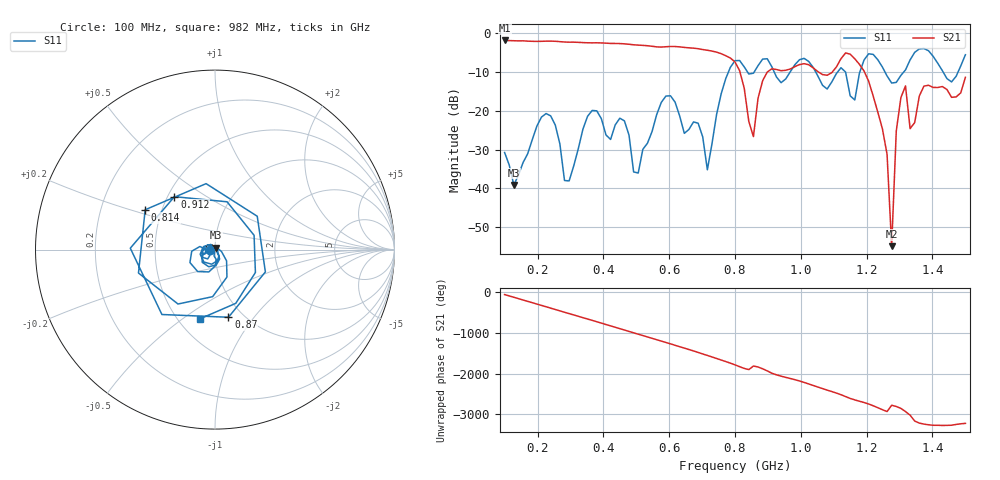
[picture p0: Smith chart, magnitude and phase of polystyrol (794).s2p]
! NanoVNA-App
! Date: 2025-09-25 15:36:04
! Start: 100MHz Stop: 1,5GHz Points: 101
! S-Parameter data: F S11 S21 S12 S22
# Hz S RI R 50
!  Frequency  S11_Real  S11_Imag  S21_Real  S21_Imag  S12_Real  S12_Imag  S22_Real  S22_Imag
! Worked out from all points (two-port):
!   101 points, 100 MHz to 1.5 GHz, reference 50 ohm
!   highest |S21| = -1.80 dB at 100 MHz (marker M1); lowest = -54.9 dB at 1.276 GHz (marker M2)
!   |S21| within 3 dB of the highest: start of sweep to 743.2 MHz
!   lowest |S11| = -39.1 dB at 128 MHz (marker M3), VSWR 1.02, Z = 50.3 + j1.06 ohm
!   |S11| at or under -10 dB: start of sweep to 779.8 MHz; 1.046 GHz to 1.111 GHz (65.66 MHz wide, 6.09 % of centre); 1.256 GHz to 1.312 GHz (56.01 MHz wide, 4.36 % of centre) (the widest 3 of 7)
!   S12 and S22 are empty: the file has one direction only
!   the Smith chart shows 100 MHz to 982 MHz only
!   S11 on the Smith chart (normalised r, x): 100 MHz: 0.94, -0.01; 814 MHz: 0.40, +0.22; 870 MHz: 0.85, -0.76; 912 MHz: 0.54, +0.37; 982 MHz: 0.64, -0.58
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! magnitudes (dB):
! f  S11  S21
! 100 MHz  -30.7  -1.8
! 128 MHz  -39.1  -1.9
! 212 MHz  -21.6  -2.0
! 282 MHz  -37.9  -2.2
! 338 MHz  -24.7  -2.3
! 506 MHz  -36.0  -3.0
! 576 MHz  -17.8  -3.5
! 716 MHz  -35.2  -4.3
! 800 MHz  -7.0  -7.3
! 814 MHz  -7.0  -9.6
! 856 MHz  -10.3  -26.6
! 870 MHz  -8.3  -16.7
! 912 MHz  -8.6  -9.1
! 982 MHz  -8.1  -8.6
! 1.038 GHz  -8.8  -8.9
! 1.206 GHz  -5.2  -12.3
! 1.262 GHz  -11.0  -31.2
! 1.276 GHz  -12.8  -54.9
! 1.29 GHz  -12.6  -25.2
! 1.318 GHz  -9.4  -13.5
! 1.332 GHz  -6.8  -24.5
! 1.5 GHz  -5.5  -11.3
